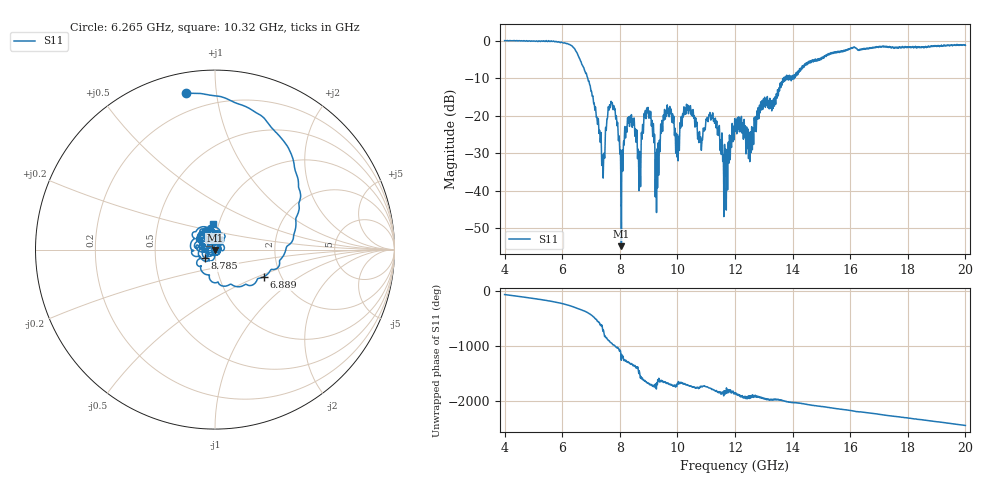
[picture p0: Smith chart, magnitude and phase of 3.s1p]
[Version] 2.0
! Rohde & Schwarz Vector Network Analyzer
! Rohde-Schwarz,ZNL20-2Port,1323001220200009,1.71.1.10-23.02.1.238
! Port Assignments:
! Nominal Port -> Actual Test Port
!  1 -> 1
! Created: GMT+2 2025-01-17 12:44:51
# Hz S RI R 50
[Number of Ports] 1
! freq[Hz]  S11[Re]  S11[Im]
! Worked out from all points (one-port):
!   16001 points, 4 GHz to 20 GHz, reference 50 ohm
!   lowest |S11| = -54.9 dB at 8.056 GHz (marker M1), VSWR 1.00, Z = 49.9 - j0.153 ohm
!   |S11| at or under -10 dB: 6.886 GHz to 13.7 GHz (6.812 GHz wide, 66.2 % of centre); 13.71199 GHz to 13.73986 GHz (27.87 MHz wide, 0.203 % of centre); 13.94135 GHz to 13.96395 GHz (22.6 MHz wide, 0.162 % of centre)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
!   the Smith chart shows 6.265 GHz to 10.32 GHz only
!   S11 on the Smith chart (normalised r, x): 6.265 GHz: 0.10, +0.83; 6.889 GHz: 1.64, -0.55; 8.785 GHz: 0.89, -0.08; 10.32 GHz: 0.94, +0.27
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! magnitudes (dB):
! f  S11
! 4 GHz  0.0
! 6 GHz  -0.5
! 6.265 GHz  -1.0
! 6.889 GHz  -10.1
! 7.401 GHz  -30.8
! 7.717 GHz  -16.7
! 7.862 GHz  -20.9
! 8 GHz  -30.1
! 8.056 GHz  -54.9
! 8.335 GHz  -22.8
! 8.659 GHz  -35.6
! 8.785 GHz  -23.0
! 9.006 GHz  -20.6
! 9.297 GHz  -29.6
! 9.488 GHz  -24.1
! 9.711 GHz  -20.2
! 10 GHz  -25.2
! 10.32 GHz  -17.0
! 10.8 GHz  -25.7
! 11.25 GHz  -21.5
! 11.67 GHz  -29.3
! 12 GHz  -21.4
! 12.54 GHz  -24.4
! 12.96 GHz  -18.3
! 14 GHz  -10.2
! 16 GHz  -2.0
! 18 GHz  -1.6
! 20 GHz  -1.2
